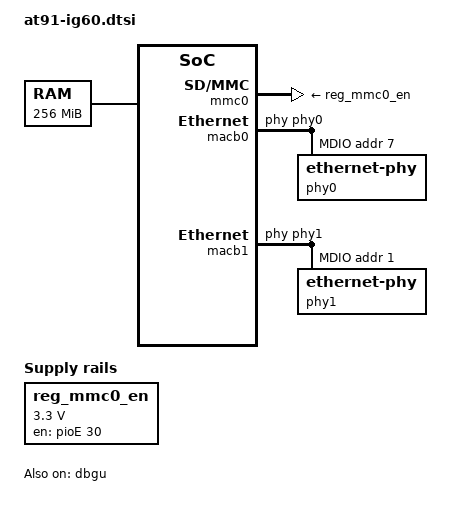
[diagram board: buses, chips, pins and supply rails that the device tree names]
/*
 * at91-ig60.dtsi - Device Tree file for the Sentrius IG60
 *
 *  Copyright (C) 2018 Laird Connectivity,
 *		  2018 James Kalbfleisch <james.kalbfleisch@lairdconnect.com>
 *
 * Licensed under GPLv2 or later.
 */


/ {
	memory@20000000 {
		reg = <0x20000000 0x10000000>;
	};

	reg_mmc0_en: reg_mmc0_en_grp {
		pinctrl-names = "default";
		pinctrl-0 = <&pinctrl_mmc0_en>;

		compatible = "regulator-fixed";
		regulator-name = "VDD MMC0";
		regulator-min-microvolt = <3300000>;
		regulator-max-microvolt = <3300000>;

		gpio = <&pioE 30 GPIO_ACTIVE_HIGH>;
		enable-active-high;
	};

	ahb {
		apb {
			pinctrl@fffff200 {
				board {
					u-boot,dm-pre-reloc;
					pinctrl_mmc0_cd: mmc0_cd {
						u-boot,dm-pre-reloc;
						atmel,pins =
							<AT91_PIOE 31 AT91_PERIPH_GPIO AT91_PINCTRL_DEGLITCH>;
					};

					pinctrl_mmc0_en: mmc0_en {
						u-boot,dm-pre-reloc;
						atmel,pins =
							<AT91_PIOE 30 AT91_PERIPH_GPIO AT91_PINCTRL_NONE>;
					};
				};
			};
		};
	};
};

&mmc0 {
	u-boot,dm-pre-reloc;
	pinctrl-names = "default";
	pinctrl-0 = <&pinctrl_mmc0_clk_cmd_dat0 &pinctrl_mmc0_dat1_3 &pinctrl_mmc0_cd>;

	vmmc-supply = <&reg_mmc0_en>;
	status = "okay";

	slot@0 {
		reg = <0>;
		bus-width = <4>;
		cd-gpios = <&pioE 31 GPIO_ACTIVE_LOW>;
	};
};

&macb0 {
	status = "okay";

	phy-handle = <&phy0>;

	mdio {
		#address-cells = <1>;
		#size-cells = <0>;

		phy0: ethernet-phy@7 {
			reg = <7>;
		};
	};
};

&macb1 {
	status = "okay";

	phy-handle = <&phy1>;

	mdio {
		#address-cells = <1>;
		#size-cells = <0>;

		phy1: ethernet-phy@1 {
			reg = <1>;
		};
	};
};

&dbgu {
	u-boot,dm-pre-reloc;
	status = "okay";
};
